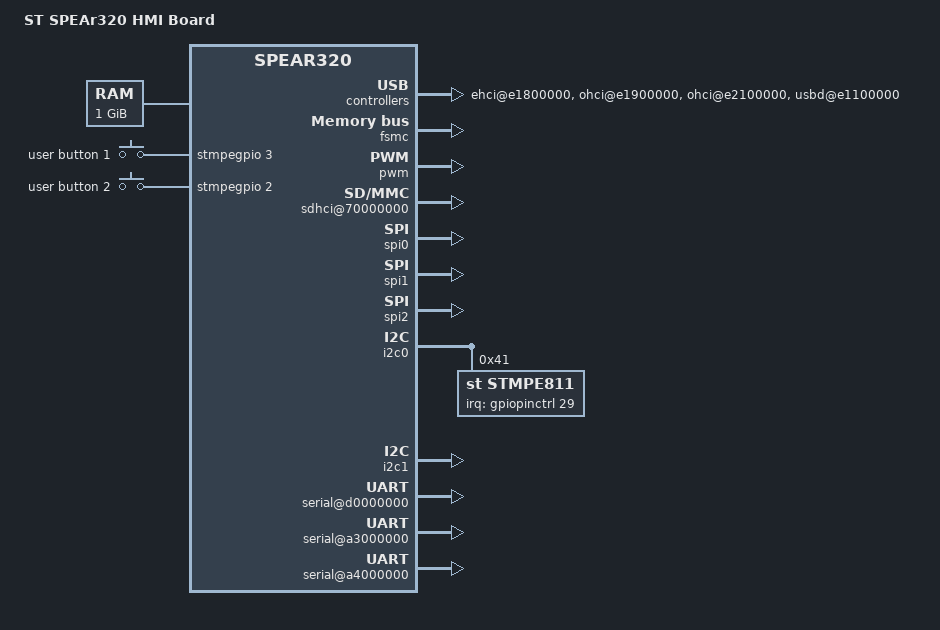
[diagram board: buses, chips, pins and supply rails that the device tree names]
// SPDX-License-Identifier: GPL-2.0-or-later
/*
 * DTS file for SPEAr320 Evaluation Baord
 *
 * Copyright 2012 Shiraz Hashim <shiraz.linux.kernel@gmail.com>
 */

/dts-v1/;
/include/ "spear320.dtsi"

/ {
	model = "ST SPEAr320 HMI Board";
	compatible = "st,spear320-hmi", "st,spear320";
	#address-cells = <1>;
	#size-cells = <1>;

	memory {
		reg = <0 0x40000000>;
	};

	ahb {
		pinmux@b3000000 {
			st,pinmux-mode = <4>;
			pinctrl-names = "default";
			pinctrl-0 = <&state_default>;

			state_default: pinmux {
				i2c0 {
					st,pins = "i2c0_grp";
					st,function = "i2c0";
				};
				ssp0 {
					st,pins = "ssp0_grp";
					st,function = "ssp0";
				};
				uart0 {
					st,pins = "uart0_grp";
					st,function = "uart0";
				};
				clcd {
					st,pins = "clcd_grp";
					st,function = "clcd";
				};
				fsmc {
					st,pins = "fsmc_8bit_grp";
					st,function = "fsmc";
				};
				sdhci {
					st,pins = "sdhci_cd_12_grp";
					st,function = "sdhci";
				};
				i2s {
					st,pins = "i2s_grp";
					st,function = "i2s";
				};
				uart1 {
					st,pins = "uart1_grp";
					st,function = "uart1";
				};
				uart2 {
					st,pins = "uart2_grp";
					st,function = "uart2";
				};
				can0 {
					st,pins = "can0_grp";
					st,function = "can0";
				};
				can1 {
					st,pins = "can1_grp";
					st,function = "can1";
				};
				mii0_1 {
					st,pins = "rmii0_1_grp";
					st,function = "mii0_1";
				};
				pwm0_1 {
					st,pins = "pwm0_1_pin_37_38_grp";
					st,function = "pwm0_1";
				};
				pwm2 {
					st,pins = "pwm2_pin_34_grp";
					st,function = "pwm2";
				};
			};
		};

		clcd@90000000 {
			status = "okay";
		};

		dma@fc400000 {
			status = "okay";
		};

		ehci@e1800000 {
			status = "okay";
		};

		fsmc: flash@4c000000 {
			status = "okay";

			partition@0 {
				label = "xloader";
				reg = <0x0 0x80000>;
			};
			partition@80000 {
				label = "u-boot";
				reg = <0x80000 0x140000>;
			};
			partition@1C0000 {
				label = "environment";
				reg = <0x1C0000 0x40000>;
			};
			partition@200000 {
				label = "dtb";
				reg = <0x200000 0x40000>;
			};
			partition@240000 {
				label = "linux";
				reg = <0x240000 0xC00000>;
			};
			partition@E40000 {
				label = "rootfs";
				reg = <0xE40000 0x0>;
			};
		};

		gpio_keys {
			compatible = "gpio-keys";
			#address-cells = <1>;
			#size-cells = <0>;

			button@1 {
				label = "user button 1";
				linux,code = <0x100>;
				gpios = <&stmpegpio 3 0x4>;
				debounce-interval = <20>;
				wakeup-source;
			};

			button@2 {
				label = "user button 2";
				linux,code = <0x200>;
				gpios = <&stmpegpio 2 0x4>;
				debounce-interval = <20>;
				wakeup-source;
			};
		};

		ohci@e1900000 {
			status = "okay";
		};

		ohci@e2100000 {
			status = "okay";
		};

		pwm: pwm@a8000000 {
			status = "okay";
		};

		sdhci@70000000 {
			power-gpio = <&gpiopinctrl 50 1>;
			power_always_enb;
			status = "okay";
		};

		smi: flash@fc000000 {
			status = "okay";
			clock-rate=<50000000>;

			flash@f8000000 {
				#address-cells = <1>;
				#size-cells = <1>;
				reg = <0xf8000000 0x800000>;
				st,smi-fast-mode;

				partition@0 {
					label = "xloader";
					reg = <0x0 0x10000>;
				};
				partition@10000 {
					label = "u-boot";
					reg = <0x10000 0x50000>;
				};
				partition@60000 {
					label = "environment";
					reg = <0x60000 0x10000>;
				};
				partition@70000 {
					label = "dtb";
					reg = <0x70000 0x10000>;
				};
				partition@80000 {
					label = "linux";
					reg = <0x80000 0x310000>;
				};
				partition@390000 {
					label = "rootfs";
					reg = <0x390000 0x0>;
				};
			};
		};

		spi0: spi@d0100000 {
			status = "okay";
		};

		spi1: spi@a5000000 {
			status = "okay";
		};

		spi2: spi@a6000000 {
			status = "okay";
		};

		usbd@e1100000 {
			status = "okay";
		};

		apb {
			gpio0: gpio@fc980000 {
			       status = "okay";
			};

			gpio@b3000000 {
				status = "okay";
			};

			i2c0: i2c@d0180000 {
				status = "okay";

				stmpe811@41 {
					compatible = "st,stmpe811";
					#address-cells = <1>;
					#size-cells = <0>;
					reg = <0x41>;
					irq-over-gpio;
					irq-gpios = <&gpiopinctrl 29 0x4>;
					id = <0>;
					blocks = <0x5>;
					irq-trigger = <0x1>;

					stmpegpio: stmpe-gpio {
						compatible = "stmpe,gpio";
						reg = <0>;
						gpio-controller;
						#gpio-cells = <2>;
						gpio,norequest-mask = <0xF3>;
					};

					stmpe610-ts {
						compatible = "stmpe,ts";
						reg = <0>;
						ts,sample-time = <4>;
						ts,mod-12b = <1>;
						ts,ref-sel = <0>;
						ts,adc-freq = <1>;
						ts,ave-ctrl = <1>;
						ts,touch-det-delay = <3>;
						ts,settling = <4>;
						ts,fraction-z = <7>;
						ts,i-drive = <1>;
					};
				};
			};

			i2c1: i2c@a7000000 {
			       status = "okay";
			};

			rtc@fc900000 {
			       status = "okay";
			};

			serial@d0000000 {
			       status = "okay";
				pinctrl-names = "default";
				pinctrl-0 = <>;
			};

			serial@a3000000 {
			       status = "okay";
				pinctrl-names = "default";
				pinctrl-0 = <>;
			};

			serial@a4000000 {
			       status = "okay";
				pinctrl-names = "default";
				pinctrl-0 = <>;
			};

			wdt@fc880000 {
			       status = "okay";
			};
		};
	};
};
